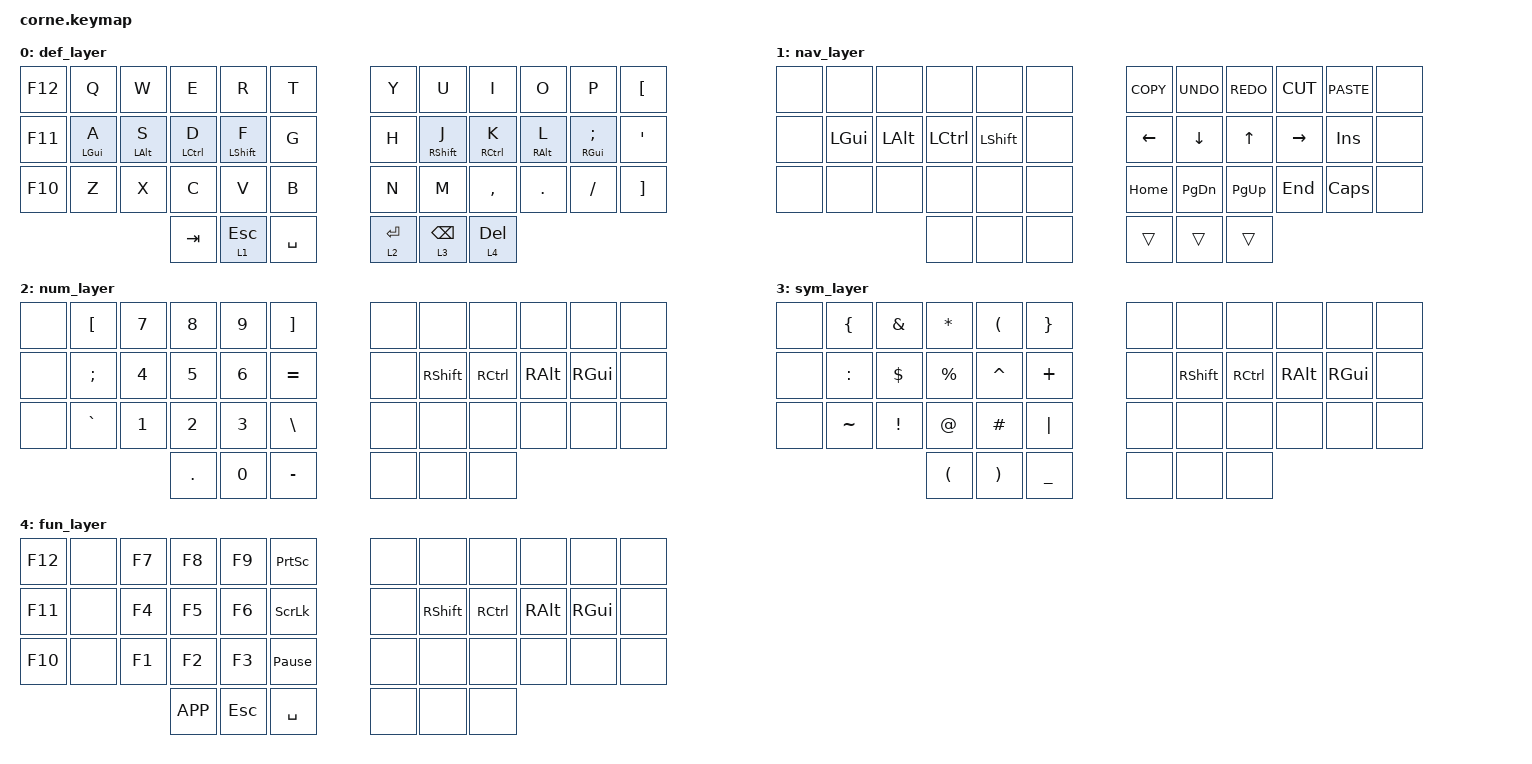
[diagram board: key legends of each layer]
/*
 * Copyright (c) 2020 The ZMK Contributors
 *
 * SPDX-License-Identifier: MIT
 */

#include <behaviors.dtsi>
#include <dt-bindings/zmk/keys.h>
#include <dt-bindings/zmk/bt.h>
#include <dt-bindings/zmk/outputs.h>

&lt { quick_tap_ms = <200>; };
&mt { quick_tap_ms = <200>; flavor = "tap-preferred"; };

/ {
    behaviors {
      lh_pht: home_row_left_mod_tap {
        compatible = "zmk,behavior-hold-tap";
        #binding-cells = <2>;
        flavor = "tap-preferred";
        tapping-term-ms = <100>;
        quick-tap-ms = <200>;
        bindings = <&kp>, <&kp>;
        hold-trigger-key-positions = <6 7 8 9 10 11>;
      };

      rh_pht: home_row_right_mod_tap {
        compatible = "zmk,behavior-hold-tap";
        #binding-cells = <2>;
        flavor = "tap-preferred";
        tapping-term-ms = <100>;
        quick-tap-ms = <200>;
        bindings = <&kp>, <&kp>;
        hold-trigger-key-positions = <0 1 2 3 4 5>;
      };
    };
  };
/ {
    keymap {
      compatible = "zmk,keymap";

      def_layer {
        bindings = <
          // ╭─────────────┬─────────────┬─────────────┬─────────────┬─────────────┬─────────────╮   ╭─────────────┬─────────────┬─────────────┬─────────────┬─────────────┬─────────────╮
               &kp F12       &kp Q         &kp W         &kp E         &kp R         &kp T             &kp Y         &kp U         &kp I         &kp O         &kp P         &kp LBKT
          // ├─────────────┼─────────────┼─────────────┼─────────────┼─────────────┼─────────────┤   ├─────────────┼─────────────┼─────────────┼─────────────┼─────────────┼─────────────┤
               &kp F11       &mt LGUI A    &mt LALT S    &mt LCTRL D   &mt LSHFT F   &kp G             &kp H         &mt RSHFT J   &mt RCTRL K   &mt RALT L    &mt RGUI SEMI &kp SQT
          // ├─────────────┼─────────────┼─────────────┼─────────────┼─────────────┼─────────────┤   ├─────────────┼─────────────┼─────────────┼─────────────┼─────────────┼─────────────┤
               &kp F10       &kp Z         &kp X         &kp C         &kp V         &kp B             &kp N         &kp M         &kp COMMA     &kp DOT       &kp FSLH      &kp RBKT
          // ╰─────────────┴─────────────┼─────────────┼─────────────┼─────────────┼─────────────┤   ├─────────────┼─────────────┼─────────────┼─────────────┼─────────────┴─────────────╯
                                                         &kp TAB       &lt 1 ESC     &kp SPACE         &lt 2 RET     &lt 3 BSPC    &lt 4 DEL
          //                                           ╰─────────────┴─────────────┴─────────────╯   ╰─────────────┴─────────────┴─────────────╯
        >;
      };

      nav_layer {
        bindings = <
          // ╭─────────────┬─────────────┬─────────────┬─────────────┬─────────────┬─────────────╮   ╭─────────────┬─────────────┬─────────────┬─────────────┬─────────────┬─────────────╮
               &none         &none         &none         &none         &none         &none             &kp K_COPY    &kp K_UNDO    &kp K_REDO    &kp K_CUT     &kp K_PASTE   &none
          // ├─────────────┼─────────────┼─────────────┼─────────────┼─────────────┼─────────────┤   ├─────────────┼─────────────┼─────────────┼─────────────┼─────────────┼─────────────┤
               &none         &kp LGUI      &kp LALT      &kp LCTRL     &kp LSHFT     &none             &kp LEFT      &kp DOWN      &kp UP        &kp RIGHT     &kp INS       &none
          // ├─────────────┼─────────────┼─────────────┼─────────────┼─────────────┼─────────────┤   ├─────────────┼─────────────┼─────────────┼─────────────┼─────────────┼─────────────┤
               &none         &none         &none         &none         &none         &none             &kp HOME      &kp PG_DN     &kp PG_UP     &kp END       &kp CAPS      &none
          // ╰─────────────┴─────────────┼─────────────┼─────────────┼─────────────┼─────────────┤   ├─────────────┼─────────────┼─────────────┼─────────────┼─────────────┴─────────────╯
                                                         &none         &none         &none             &trans        &trans        &trans
          //                                           ╰─────────────┴─────────────┴─────────────╯   ╰─────────────┴─────────────┴─────────────╯
        >;
      };

      num_layer {
        bindings = <
          // ╭─────────────┬─────────────┬─────────────┬─────────────┬─────────────┬─────────────╮   ╭─────────────┬─────────────┬─────────────┬─────────────┬─────────────┬─────────────╮
               &none         &kp LBKT      &kp N7        &kp N8        &kp N9        &kp RBKT          &none         &none         &none         &none         &none         &none
          // ├─────────────┼─────────────┼─────────────┼─────────────┼─────────────┼─────────────┤   ├─────────────┼─────────────┼─────────────┼─────────────┼─────────────┼─────────────┤
               &none         &kp SEMI      &kp N4        &kp N5        &kp N6        &kp EQUAL         &none         &kp RSHFT     &kp RCTRL     &kp RALT      &kp RGUI      &none
          // ├─────────────┼─────────────┼─────────────┼─────────────┼─────────────┼─────────────┤   ├─────────────┼─────────────┼─────────────┼─────────────┼─────────────┼─────────────┤
               &none         &kp GRAVE     &kp N1        &kp N2        &kp N3        &kp BSLH          &none         &none         &none         &none         &none         &none
          // ╰─────────────┴─────────────┼─────────────┼─────────────┼─────────────┼─────────────┤   ├─────────────┼─────────────┼─────────────┼─────────────┼─────────────┴─────────────╯
                                                         &kp DOT       &kp N0        &kp MINUS         &none         &none         &none
          //                                           ╰─────────────┴─────────────┴─────────────╯   ╰─────────────┴─────────────┴─────────────╯
        >; 
      };

      sym_layer {
        bindings = <
          // ╭─────────────┬─────────────┬─────────────┬─────────────┬─────────────┬─────────────╮   ╭─────────────┬─────────────┬─────────────┬─────────────┬─────────────┬─────────────╮
               &none         &kp LBRC      &kp AMPS      &kp STAR      &kp LPAR      &kp RBRC          &none         &none         &none         &none         &none         &none
          // ├─────────────┼─────────────┼─────────────┼─────────────┼─────────────┼─────────────┤   ├─────────────┼─────────────┼─────────────┼─────────────┼─────────────┼─────────────┤
               &none         &kp COLON     &kp DLLR      &kp PRCNT     &kp CARET     &kp PLUS          &none         &kp RSHFT     &kp RCTRL     &kp RALT      &kp RGUI      &none
          // ├─────────────┼─────────────┼─────────────┼─────────────┼─────────────┼─────────────┤   ├─────────────┼─────────────┼─────────────┼─────────────┼─────────────┼─────────────┤
               &none         &kp TILDE     &kp EXCL      &kp AT        &kp HASH      &kp PIPE          &none         &none         &none         &none         &none         &none
          // ╰─────────────┴─────────────┼─────────────┼─────────────┼─────────────┼─────────────┤   ├─────────────┼─────────────┼─────────────┼─────────────┼─────────────┴─────────────╯
                                                         &kp LPAR      &kp RPAR      &kp UNDER         &none         &none         &none
          //                                           ╰─────────────┴─────────────┴─────────────╯   ╰─────────────┴─────────────┴─────────────╯
        >;
      };

      fun_layer {
        bindings = <
          // ╭─────────────┬─────────────┬─────────────┬─────────────┬─────────────┬─────────────╮   ╭─────────────┬─────────────┬─────────────┬─────────────┬─────────────┬─────────────╮
               &kp F12       &none         &kp F7        &kp F8        &kp F9        &kp PSCRN         &none         &none         &none         &none         &none         &none
          // ├─────────────┼─────────────┼─────────────┼─────────────┼─────────────┼─────────────┤   ├─────────────┼─────────────┼─────────────┼─────────────┼─────────────┼─────────────┤
               &kp F11       &none         &kp F4        &kp F5        &kp F6        &kp SLCK          &none         &kp RSHFT     &kp RCTRL     &kp RALT      &kp RGUI      &none
          // ├─────────────┼─────────────┼─────────────┼─────────────┼─────────────┼─────────────┤   ├─────────────┼─────────────┼─────────────┼─────────────┼─────────────┼─────────────┤
               &kp F10       &none         &kp F1        &kp F2        &kp F3      &kp PAUSE_BREAK     &none         &none         &none         &none         &none         &none
          // ╰─────────────┴─────────────┼─────────────┼─────────────┼─────────────┼─────────────┤   ├─────────────┼─────────────┼─────────────┼─────────────┼─────────────┴─────────────╯
                                                         &kp K_APP     &kp ESC       &kp SPACE         &none         &none         &none
          //                                           ╰─────────────┴─────────────┴─────────────╯   ╰─────────────┴─────────────┴─────────────╯
        >;
      };
    };
  };
